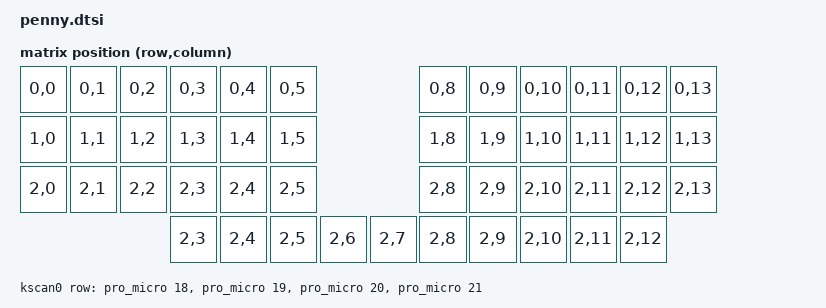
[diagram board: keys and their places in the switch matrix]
#include <dt-bindings/zmk/matrix_transform.h> // Put this with the other includes at the top of your dtsi
#include <physical_layouts.dtsi>

// &physical_layout0 {
//     kscan = <&kscan0>;
//     transform = <&default_transform>;
// };

/ {

    chosen {
        zmk,kscan = &kscan0;
        zmk,physical-layout = &physical_layout0;
        // Other chosen items
    };

    physical_layout0: physical_layout0 {
        compatible = "zmk,physical-layout";
        display-name = "Penny";
        transform = <&default_transform>;
        kscan = <&kscan0>;
        keys  //                     w   h    x    y     rot    rx    ry
        = <&key_physical_attrs 100 100    0    0       0     0     0>
        , <&key_physical_attrs 100 100  100    0       0     0     0>
        , <&key_physical_attrs 100 100  200    0       0     0     0>
        , <&key_physical_attrs 100 100  300    0       0     0     0>
        , <&key_physical_attrs 100 100  400    0       0     0     0>
        , <&key_physical_attrs 100 100  500    0       0     0     0>
        , <&key_physical_attrs 100 100  600    0       0     0     0>
        , <&key_physical_attrs 100 100  700    0       0     0     0>
        , <&key_physical_attrs 100 100  800    0       0     0     0>
        , <&key_physical_attrs 100 100  900    0       0     0     0>
        , <&key_physical_attrs 100 100 1000    0       0     0     0>
        , <&key_physical_attrs 100 100 1100    0       0     0     0>
        , <&key_physical_attrs 100 100    0  100       0     0     0>
        , <&key_physical_attrs 100 100  100  100       0     0     0>
        , <&key_physical_attrs 100 100  200  100       0     0     0>
        , <&key_physical_attrs 100 100  300  100       0     0     0>
        , <&key_physical_attrs 100 100  400  100       0     0     0>
        , <&key_physical_attrs 100 100  500  100       0     0     0>
        , <&key_physical_attrs 100 100  600  100       0     0     0>
        , <&key_physical_attrs 100 100  700  100       0     0     0>
        , <&key_physical_attrs 100 100  800  100       0     0     0>
        , <&key_physical_attrs 100 100  900  100       0     0     0>
        , <&key_physical_attrs 100 100 1000  100       0     0     0>
        , <&key_physical_attrs 100 100 1100  100       0     0     0>
        , <&key_physical_attrs 100 100    0  200       0     0     0>
        , <&key_physical_attrs 100 100  100  200       0     0     0>
        , <&key_physical_attrs 100 100  200  200       0     0     0>
        , <&key_physical_attrs 100 100  300  200       0     0     0>
        , <&key_physical_attrs 100 100  400  200       0     0     0>
        , <&key_physical_attrs 100 100  500  200       0     0     0>
        , <&key_physical_attrs 100 100  600  200       0     0     0>
        , <&key_physical_attrs 100 100  700  200       0     0     0>
        , <&key_physical_attrs 100 100  800  200       0     0     0>
        , <&key_physical_attrs 100 100  900  200       0     0     0>
        , <&key_physical_attrs 100 100 1000  200       0     0     0>
        , <&key_physical_attrs 100 100 1100  200       0     0     0>
        , <&key_physical_attrs 100 100    0  300       0     0     0>
        , <&key_physical_attrs 100 100  100  300       0     0     0>
        , <&key_physical_attrs 100 100  200  300       0     0     0>
        , <&key_physical_attrs 100 100  300  300       0     0     0>
        , <&key_physical_attrs 100 100  400  300       0     0     0>
        , <&key_physical_attrs 100 100  500  300       0     0     0>
        , <&key_physical_attrs 100 100  600  300       0     0     0>
        , <&key_physical_attrs 100 100  700  300       0     0     0>
        ;

    };


    default_transform: keymap_transform0 {
        compatible = "zmk,matrix-transform";
        columns = <14>;
        rows = <4>;
        map = <
        //  LKey 1 |LKey 2 |LKey 3  LKey 4 |LKey 5 |LKey 6                      RKey 1 |RKey 2 |RKey 3  RKey 4 |RKey 5 |RKey 6
            RC(0,0) RC(0,1) RC(0,2) RC(0,3) RC(0,4) RC(0,5)                     RC(0,8) RC(0,9) RC(0,10) RC(0,11) RC(0,12) RC(0,13)
        //  LKey 4 |LKey 5 |LKey 6  RKey 4 |RKey 5 |RKey 6
            RC(1,0) RC(1,1) RC(1,2) RC(1,3) RC(1,4) RC(1,5)                     RC(1,8) RC(1,9) RC(1,10) RC(1,11) RC(1,12) RC(1,13)
        //  LKey 7 |LKey 8 |LKey 9  RKey 7 |RKey 8 |RKey 9
            RC(2,0) RC(2,1) RC(2,2) RC(2,3) RC(2,4) RC(2,5)                     RC(2,8) RC(2,9) RC(2,10) RC(2,11) RC(2,12) RC(2,13)
                                    RC(2,3) RC(2,4) RC(2,5) RC(2,6)     RC(2,7) RC(2,8) RC(2,9) RC(2,10) RC(2,11) RC(2,12)
        >;
    };

    kscan0: kscan {
        compatible = "zmk,kscan-gpio-matrix";
        diode-direction = "col2row";
        wakeup-source;

        row-gpios
            = <&pro_micro 18 (GPIO_ACTIVE_HIGH | GPIO_PULL_DOWN)>
            , <&pro_micro 19 (GPIO_ACTIVE_HIGH | GPIO_PULL_DOWN)>
            , <&pro_micro 20 (GPIO_ACTIVE_HIGH | GPIO_PULL_DOWN)>
            , <&pro_micro 21 (GPIO_ACTIVE_HIGH | GPIO_PULL_DOWN)>
            ;

    };

    // TODO: per-key RGB node(s)?
};

&penny_map {
    penny_posmap: penny {
        physical_layout = <&penny>;
        positions
        = < 0  1  2  3  4  5          6  7  8  9 10 11>
        , <12 13 14 15 16 17         18 19 20 21 22 23>
        , <24 25 26 27 28 29         30 31 32 33 34 35>
        , <         36 37 38 39   40 41 42 43 >
        , <         48 49 50 51   52 53 54 55 56 57 58 59>
        ;
    }
}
